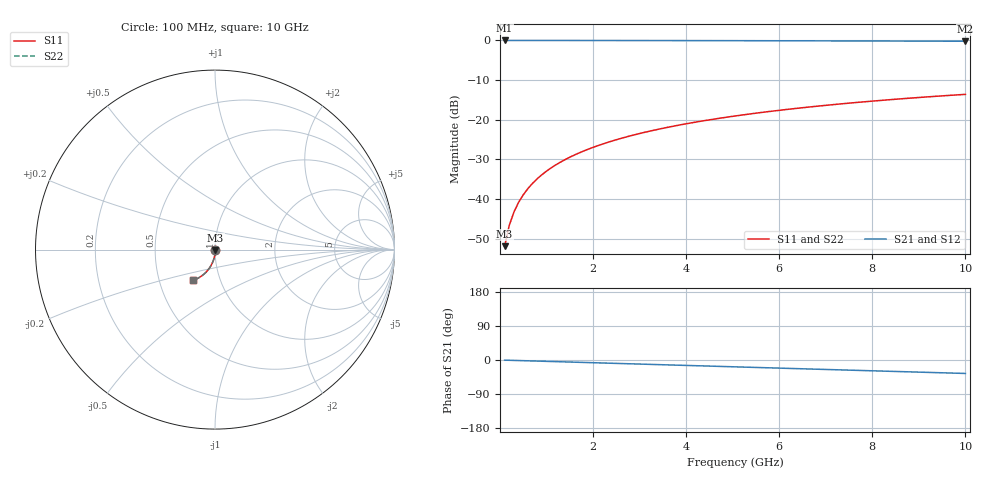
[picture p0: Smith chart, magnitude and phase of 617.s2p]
# Hz S RI R 50.00
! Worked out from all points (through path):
!   100 points, 100 MHz to 10 GHz, reference 50 ohm
!   highest |S21| = -0.01 dB at 100 MHz (marker M1); lowest = -0.2 dB at 10 GHz (marker M2)
!   group delay of S21, straight-line fit = 9.87 ps
!   lowest |S11| = -51.9 dB at 100 MHz (marker M3), VSWR 1.01, Z = 50.1 - j0.225 ohm
!   |S11| at or under -10 dB: start of sweep to end of sweep
!   |S22| runs from -51.9 to -13.6 dB; largest |S21 - S12| = 0
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1e8  0.00117 -0.00225  0.9988 -0.00624  0.9988 -0.00624  0.00117 -0.00225
2e8  0.00114 -0.0045  0.9987 -0.0125  0.9987 -0.0125  0.00114 -0.0045
3e8  0.00107 -0.00674  0.9986 -0.0187  0.9986 -0.0187  0.00107 -0.00674
4e8  0.00097 -0.00899  0.9984 -0.025  0.9984 -0.025  0.00097 -0.00899
5e8  0.000844 -0.0112  0.9982 -0.0312  0.9982 -0.0312  0.000844 -0.0112
6e8  0.000689 -0.0135  0.998 -0.0374  0.998 -0.0374  0.000689 -0.0135
7e8  0.000506 -0.0157  0.9977 -0.0437  0.9977 -0.0437  0.000506 -0.0157
8e8  0.000295 -0.018  0.9973 -0.0499  0.9973 -0.0499  0.000295 -0.018
9e8  5.63e-05 -0.0202  0.997 -0.0561  0.997 -0.0561  5.63e-05 -0.0202
1.1e9  -0.000506 -0.0247  0.9961 -0.0686  0.9961 -0.0686  -0.000506 -0.0247
1.4e9  -0.00156 -0.0313  0.9944 -0.0872  0.9944 -0.0872  -0.00156 -0.0313
1.8e9  -0.00335 -0.0401  0.9916 -0.112  0.9916 -0.112  -0.00335 -0.0401
2.1e9  -0.00498 -0.0467  0.989 -0.1305  0.989 -0.1305  -0.00498 -0.0467
2.5e9  -0.00753 -0.0553  0.9849 -0.1551  0.9849 -0.1551  -0.00753 -0.0553
2.9e9  -0.0105 -0.0638  0.9802 -0.1795  0.9802 -0.1795  -0.0105 -0.0638
3.4e9  -0.0148 -0.0742  0.9733 -0.2098  0.9733 -0.2098  -0.0148 -0.0742
4.2e9  -0.023 -0.0902  0.9602 -0.2577  0.9602 -0.2577  -0.023 -0.0902
5.1e9  -0.0341 -0.107  0.9423 -0.3103  0.9423 -0.3103  -0.0341 -0.107
5.9e9  -0.0454 -0.1209  0.9238 -0.356  0.9238 -0.356  -0.0454 -0.1209
6.7e9  -0.058 -0.1335  0.9029 -0.4003  0.9029 -0.4003  -0.058 -0.1335
8.4e9  -0.0884 -0.1558  0.8513 -0.4896  0.8513 -0.4896  -0.0884 -0.1558
1e10  -0.1203 -0.1705  0.7947 -0.5668  0.7947 -0.5668  -0.1203 -0.1705
